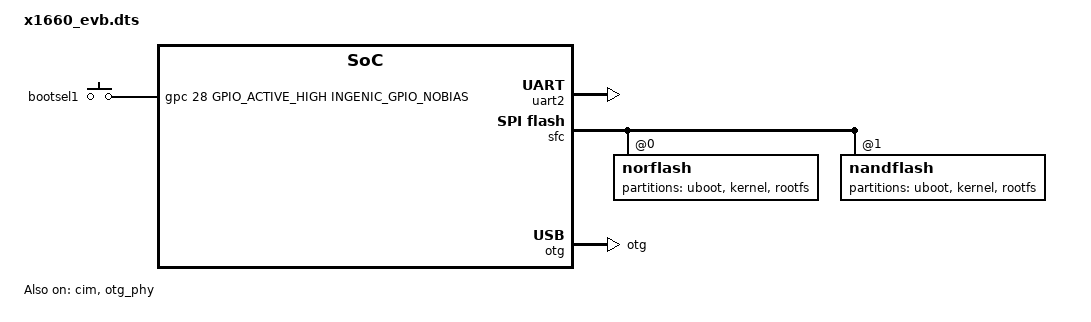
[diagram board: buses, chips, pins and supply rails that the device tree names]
/dts-v1/;
#include <dt-bindings/input/input.h>
#include <dt-bindings/interrupt-controller/irq.h>
#include "x1600.dtsi"
#include <generated/autoconf.h>

#ifdef CONFIG_RD_X1660_EVB_DVP_CAMERA
#include "x1660evb_cameras/RD_X1660_EVB_DVP_CAMERA.dtsi"
#endif

#ifdef CONFIG_RD_X1660_EVB_MIPI_CAMERA
#include "x1660evb_cameras/RD_X1660_EVB_MIPI_CAMERA.dtsi"
#endif

/ {
	compatible = "ingenic,x1660-evb", "ingenic,x1660-evb";

	/*chosen {
		bootargs = "console=ttyS1,115200 mem=128M@0x0ip=off init=/linuxrc ubi.mtd=3 root=ubi0:rootfs ubi.mtd=4 rootfstype=ubifs rw";
	};*/

	reserved-memory {
		#address-cells = <1>;
		#size-cells = <1>;
		ranges =<>;

		reserved_memory: reserved_mem@0x1c00000{
		      compatible = "shared-dma-pool";
		      reg = <0x01c00000 0x400000>;
		};
	};

};

&uart1 {
	status = "disable";
	/* dma-mode; */
	pinctrl-names = "default";
	pinctrl-0 = <&uart1_pb>;
};

&uart2 {
	status = "okay";
	pinctrl-names = "default";
	pinctrl-0 = <&uart2_pb>;
};

&uart3 {
	status = "disable";
};

&cpufreq {
	status = "okay";
	operating-points = <
		/*KHZ uV */
		1200000	900000
		750000	900000
		600000	900000
		500000	900000
		400000	900000
		375000	900000
		300000	900000
		200000	900000
			>;

};

&pdma {
	status = "okay";
};


&tcu {
	status = "disable";
	pinctrl-names = "default";
	pinctrl-0 = <&pwm_tcu_trig_pa>;
};

&pwm {
	status = "disable";
	pinctrl-names = "default";
	pinctrl-0 = <&pwm4_pc>;
};


&can1 {
	status = "disable";
	pinctrl-names = "default";
	pinctrl-0 = <&can1_pd>;
	ingenic,clk-freq = <12000000>;
};

&cim {
	status = "okay";
	memory-region=<&reserved_memory>;
};

&sfc {
	status = "okay";
	pinctrl-names = "default";
	pinctrl-0 = <&sfc_pc>;
	ingenic,sfc-init-frequency = <200000000>;
	ingenic,sfc-max-frequency = <400000000>;
	ingenic,use_ofpart_info  = /bits/ 8 <0>;
	ingenic,spiflash_param_offset = <0>;

	norflash@0 {
		partitions {
			compatible = "fixed-partitions";
			#address-cells = <1>;
			#size-cells = <1>;

			/* spi nor flash partition */
			uboot@0 {
				label = "uboot";
				reg = <0x0000000 0x40000>;
				/*read-only;*/
			};

			kernel@40000 {
				label = "kernel";
				reg = <0x40000 0x300000>;
			};

			rootfs@360000 {
				label = "rootfs";
				reg = <0x360000 0xca0000>;
			};
		};
	};

	nandflash@1 {
		partitions {
			compatible = "fixed-partitions";
			#address-cells = <1>;
			#size-cells = <1>;

			/* spi nand flash partition */
			partition@0 {
				label = "uboot";
				reg = <0x0000000 0x100000>;
				/*read-only;*/
			};

			partition@100000 {
				label = "kernel";
				reg = <0x100000 0x800000>;
			};

			partition@900000 {
				label = "rootfs";
				reg = <0x900000 0xf700000>;
			};
		};
	};

};


&otg {
	g-use-dma;
	dr_mode = "otg"; // host,peripheral,otg
	status = "okay";
};

&otg_phy {
	status = "okay";
	pinctrl-names = "default";
	pinctrl-0 = <&drvvbus_pin>;
};

&efuse {
	status = "disable";
	ingenic,efuse-en-gpio = <&gpc 1 GPIO_ACTIVE_HIGH INGENIC_GPIO_NOBIAS>;
};


/ {

	extclk: extclk {
		clock-frequency = <24000000>;
	};

	gpio_keys: gpio_keys {
		   compatible = "gpio-keys";

		   bootsel1 {
			   label = "bootsel1";
			   linux,code = <KEY_BACK>;
			   gpios = <&gpc 28 GPIO_ACTIVE_HIGH INGENIC_GPIO_NOBIAS>;
		   };
	   };

};

